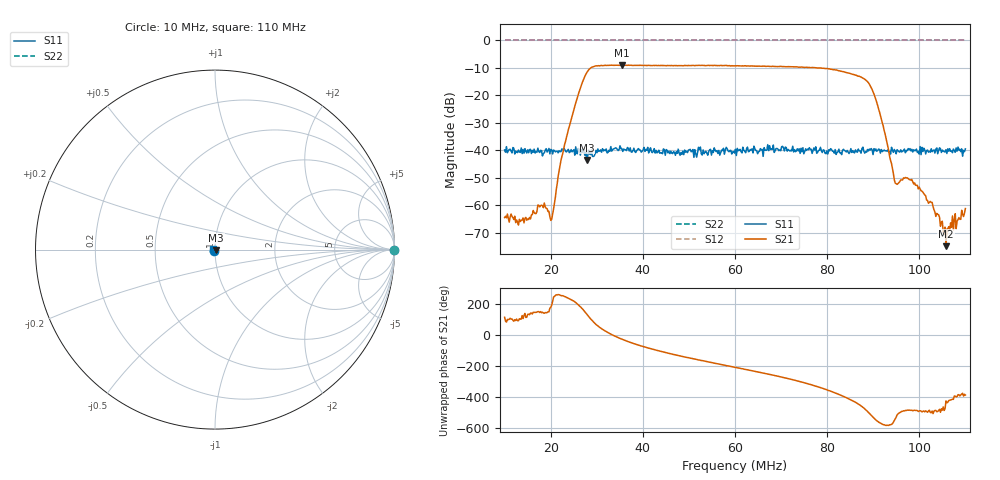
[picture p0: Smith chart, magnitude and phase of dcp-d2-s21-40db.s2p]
! Anritsu VNA Master:  Model: MS2034B/10/19/501
! SN:  1337062
! /bd0/ovro-jan-2016/dcp-d2-s21-40db.s2p
! Existing Calibration Information:
! TYPE:  Current Settings,  Active Cal Settings
! TIME:  01/08/2016 08:52:46 PM,  01/08/2016 08:43:08 PM
! INTERNAL TEMP:  44.8 C,  45.0 C
! # POINTS:  500,  500
! START FREQ:  10.000 MHz,  10.000 MHz
! STOP FREQ:  110.000 MHz,  110.000 MHz
! SOURCE POWER:  Low,  Low
! IFBW:  100 Hz,  100 Hz
! AVG FACTOR:  3 ,  3
! REF PLANE 1:  2.2245 m,  2.2245 m
! REF PLANE 2:  0 mm,  0 mm
! CAL TYPE:  1P2P S11,S21,  1P2P S11,S21
! CAL METHOD:  SOLT,  SOLT
! CAL LINE TYPE:  Coax,  Coax
! DUT PORT 1:  K-Conn(M),  K-Conn(M)
! DUT PORT 2:  N-Conn(M),  N-Conn(M)
! CAL STATUS:  OK: Accuracy High,  --
# GHZ S DB R 50.0
! FREQ.GHZ  S11DB  S11A  S21DB  S21A  S12DB  S12A  S22DB  S22A
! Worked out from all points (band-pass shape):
!   500 points, 10 MHz to 110 MHz, reference 50 ohm
!   highest |S21| = -8.98 dB at 35.45 MHz (marker M1); lowest = -74.9 dB at 105.8 MHz (marker M2)
!   |S21| within 3 dB of the highest: 27.74 MHz to 84.9 MHz (57.16 MHz wide, 101 % of centre)
!   lowest |S11| = -43.5 dB at 27.84 MHz (marker M3), VSWR 1.01, Z = 50.6 - j0.19 ohm
!   |S11| at or under -10 dB: start of sweep to end of sweep
!   |S22| runs from 0.0 to 0.0 dB; largest |S21 - S12| = 1.4
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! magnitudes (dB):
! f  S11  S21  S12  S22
! 10 MHz  -39.9  -64.5  0.0  0.0
! 15.21 MHz  -40.9  -65.2  0.0  0.0
! 18.22 MHz  -42.0  -60.2  0.0  0.0
! 20.22 MHz  -39.8  -65.1  0.0  0.0
! 22.63 MHz  -39.8  -41.1  0.0  0.0
! 26.83 MHz  -40.8  -15.4  0.0  0.0
! 27.84 MHz  -43.5  -11.7  0.0  0.0
! 29.84 MHz  -40.0  -9.2  0.0  0.0
! 35.45 MHz  -39.4  -9.0  0.0  0.0
! 43.47 MHz  -40.0  -9.1  0.0  0.0
! 60.1 MHz  -39.6  -9.2  0.0  0.0
! 76.73 MHz  -41.1  -9.9  0.0  0.0
! 83.55 MHz  -39.6  -11.4  0.0  0.0
! 88.76 MHz  -39.7  -15.0  0.0  0.0
! 90.76 MHz  -40.3  -22.5  0.0  0.0
! 93.37 MHz  -40.7  -40.2  0.0  0.0
! 94.97 MHz  -41.3  -52.1  0.0  0.0
! 97.17 MHz  -40.1  -50.0  0.0  0.0
! 99.78 MHz  -40.4  -54.1  0.0  0.0
! 102.8 MHz  -40.5  -59.0  0.0  0.0
! 105.8 MHz  -39.8  -74.9  0.0  0.0
! 110 MHz  -39.5  -61.2  0.0  0.0
